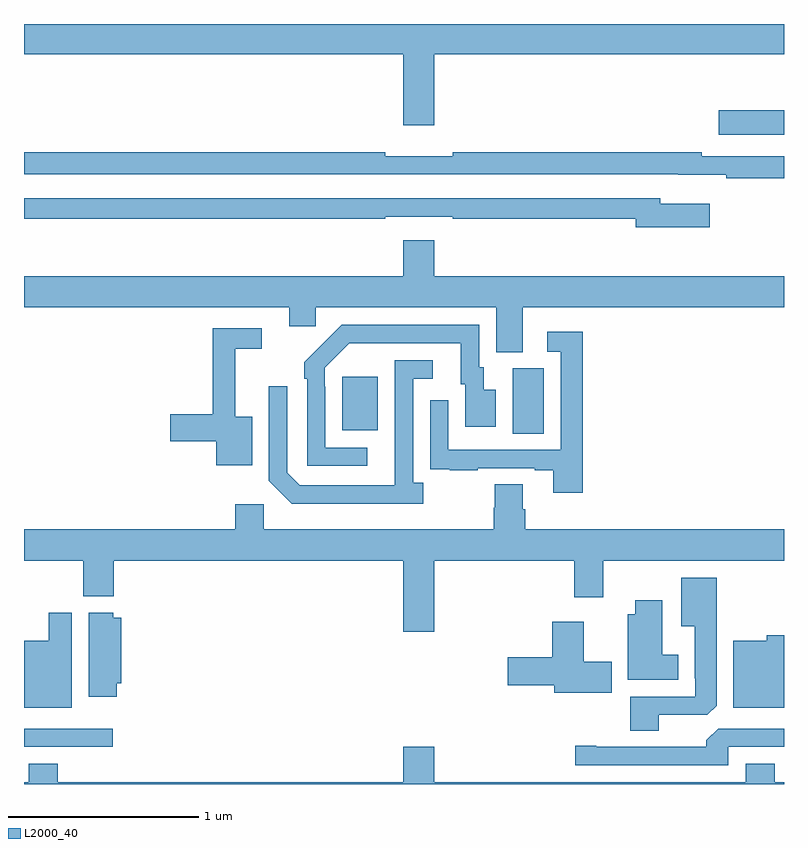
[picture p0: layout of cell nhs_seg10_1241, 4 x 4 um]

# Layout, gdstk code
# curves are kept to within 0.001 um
import gdstk
lib = gdstk.Library(unit=1e-6, precision=1e-09)
def R(c, l, rs):  # rectangles x0, y0, x1, y1
    for r in rs: c.add(gdstk.rectangle(r[:2], r[2:], *l))
def P(c, l, *ps):  # polygons
    for p in ps: c.add(gdstk.Polygon(p, *l))
L2000_40 = (2000, 40)

nhs_seg10_1241 = lib.new_cell('nhs_seg10_1241')
R(nhs_seg10_1241, L2000_40, [(175,1272.696,175.468,1272.792), (177.572,1274.344,177.736,1274.688), (176.675,1274.363,176.863,1274.644), (178.656,1275.917,179,1276.047)])
P(nhs_seg10_1241, L2000_40, [(177.16,1276.34),(179,1276.34),(179,1276.5),(175,1276.5),(175,1276.34),(176.996,1276.34),(176.996,1275.966),(177.16,1275.966)],
  [(179,1275.804),(178.568,1275.804),(178.568,1275.824),(177.256,1275.824),(177.256,1275.805),(176.9,1275.805),(176.9,1275.824),(175,1275.824),(175,1275.708),(178.444,1275.708),(178.444,1275.707),(178.696,1275.707),(178.696,1275.688),(179,1275.688)],
  [(178.609,1275.553),(178.348,1275.553),(178.348,1275.582),(175,1275.582),(175,1275.474),(176.9,1275.474),(176.9,1275.486),(177.256,1275.486),(177.256,1275.474),(178.22,1275.474),(178.22,1275.431),(178.609,1275.431)],
  [(177.625,1275.008),(179,1275.008),(179,1275.172),(177.16,1275.172),(177.16,1275.361),(176.996,1275.361),(176.996,1275.172),(175,1275.172),(175,1275.008),(176.396,1275.008),(176.396,1274.91),(176.535,1274.91),(176.535,1275.008),(177.485,1275.008),(177.485,1274.773),(177.625,1274.773)],
  [(176.806,1274.271),(176.586,1274.271),(176.586,1274.591),(176.583,1274.591),(176.583,1274.691),(176.712,1274.82),(177.299,1274.82),(177.299,1274.604),(177.323,1274.604),(177.323,1274.379),(177.484,1274.379),(177.484,1274.575),(177.421,1274.575),(177.421,1274.694),(177.396,1274.694),(177.396,1274.916),(176.672,1274.916),(176.475,1274.721),(176.475,1274.633),(176.49,1274.633),(176.49,1274.175),(176.806,1274.175)],
  [(176.2,1274.434),(176.111,1274.434),(176.111,1274.79),(176.251,1274.79),(176.251,1274.898),(175.993,1274.898),(175.993,1274.447),(175.77,1274.447),(175.77,1274.305),(176.012,1274.305),(176.012,1274.177),(176.2,1274.177)],
  [(177.941,1274.881),(177.753,1274.881),(177.753,1274.775),(177.825,1274.775),(177.825,1274.259),(177.234,1274.259),(177.234,1274.521),(177.138,1274.521),(177.138,1274.266),(177.139,1274.266),(177.139,1274.157),(177.241,1274.157),(177.241,1274.151),(177.389,1274.151),(177.389,1274.163),(177.689,1274.163),(177.689,1274.151),(177.785,1274.151),(177.785,1274.034),(177.941,1274.034)],
  [(177.1,1274.086),(177.048,1274.086),(177.048,1274.634),(177.151,1274.634),(177.151,1274.73),(176.952,1274.73),(176.952,1274.073),(176.451,1274.073),(176.385,1274.139),(176.385,1274.593),(176.289,1274.593),(176.289,1274.097),(176.41,1273.976),(177.1,1273.976)],
  [(177.16,1273.676),(177.896,1273.676),(177.896,1273.482),(178.048,1273.482),(178.048,1273.676),(179,1273.676),(179,1273.84),(177.638,1273.84),(177.638,1273.946),(177.625,1273.946),(177.625,1274.078),(177.478,1274.078),(177.478,1273.953),(177.473,1273.953),(177.473,1273.84),(176.262,1273.84),(176.262,1273.972),(176.111,1273.972),(176.111,1273.84),(175,1273.84),(175,1273.676),(175.312,1273.676),(175.312,1273.487),(175.472,1273.487),(175.472,1273.676),(176.996,1273.676),(176.996,1273.302),(177.16,1273.302)],
  [(178.342,1272.864),(178.596,1272.864),(178.645,1272.913),(178.645,1273.585),(178.46,1273.585),(178.46,1273.331),(178.529,1273.331),(178.529,1273.057),(178.533,1273.057),(178.533,1272.96),(178.19,1272.96),(178.19,1272.781),(178.342,1272.781)],
  [(178.444,1273.18),(178.36,1273.18),(178.36,1273.468),(178.217,1273.468),(178.217,1273.393),(178.178,1273.393),(178.178,1273.049),(178.444,1273.049)],
  [(175.252,1273.402),(175.13,1273.402),(175.13,1273.255),(175,1273.255),(175,1272.902),(175.252,1272.902)],
  [(175.487,1273.031),(175.513,1273.031),(175.513,1273.375),(175.47,1273.375),(175.47,1273.402),(175.34,1273.402),(175.34,1272.96),(175.487,1272.96)],
  [(178.093,1273.143),(177.946,1273.143),(177.946,1273.354),(177.779,1273.354),(177.779,1273.166),(177.546,1273.166),(177.546,1273.019),(177.791,1273.019),(177.791,1272.98),(178.093,1272.98)],
  [(179,1273.282),(178.908,1273.282),(178.908,1273.255),(178.733,1273.255),(178.733,1272.902),(179,1272.902)],
  [(178.707,1272.696),(179,1272.696),(179,1272.792),(178.653,1272.792),(178.592,1272.73),(178.592,1272.696),(178.012,1272.696),(178.012,1272.701),(177.9,1272.701),(177.9,1272.6),(178.707,1272.6)],
  [(179,1272.508),(178.952,1272.508),(178.952,1272.607),(178.799,1272.607),(178.799,1272.508),(177.16,1272.508),(177.16,1272.697),(176.996,1272.697),(176.996,1272.508),(175.178,1272.508),(175.178,1272.607),(175.025,1272.607),(175.025,1272.508),(175,1272.508),(175,1272.5),(179,1272.5)])

lib.write_gds('nhs_seg10_1241.gds')
